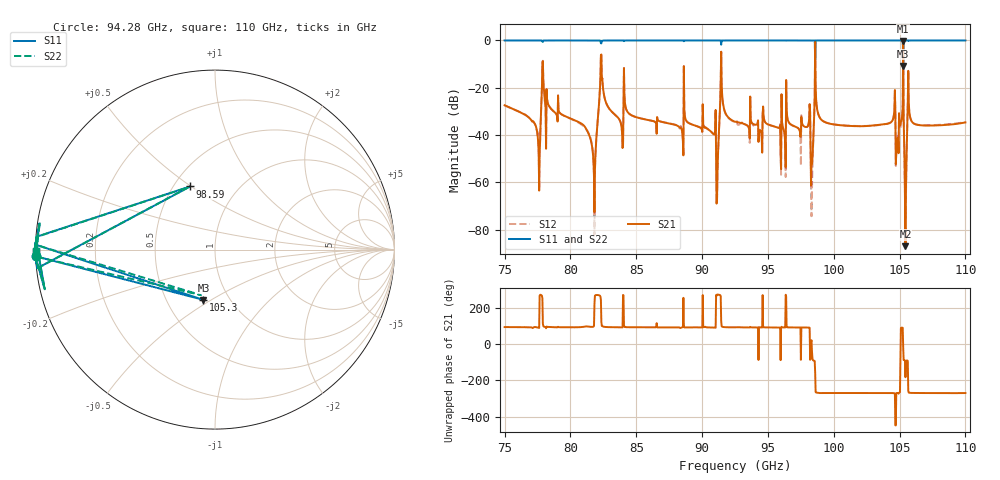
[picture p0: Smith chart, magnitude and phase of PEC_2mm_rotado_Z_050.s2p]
! TOUCHSTONE file generated by CST MICROWAVE STUDIO
! Date and time: Fri Feb 16 17:58:28 2024
! Project name: metal_rotado.cst
! Parameters = {angX=0.5; angY=2}
! Header version: 2018
! Port assignment regex: !\s*Touchstone port\s*([0-9]+)\s*=\s*(CST MWS port|CST DS port)\s*([0-9]+|Zmin|Zmax)\s*\(\"(.*)\"\)(\s*mode\s*([0-9]+))?.*
! Touchstone port assignment:
! Touchstone port 1 = CST MWS port 1 ("")
! Touchstone port 2 = CST MWS port 2 ("")
# GHz S MA R 376.7
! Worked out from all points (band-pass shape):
!   1001 points, 75 GHz to 110 GHz, reference 376.7 ohm
!   highest |S21| = -0.27 dB at 105.3 GHz (marker M1); lowest = -87.0 dB at 105.5 GHz (marker M2)
!   |S21| within 3 dB of the highest: 98.58597 GHz to 98.59476 GHz (8.789 MHz wide, 0.00892 % of centre); 105.2711 GHz to 105.2782 GHz (7.095 MHz wide, 0.00674 % of centre)
!   lowest |S11| = -10.8 dB at 105.3 GHz (marker M3), VSWR 1.81, Z = 285 - j174 ohm
!   |S11| at or under -10 dB: 105.2723 GHz to 105.2777 GHz (5.368 MHz wide, 0.0051 % of centre)
!   |S22| runs from -11.5 to 0.0 dB; largest |S21 - S12| = 0.027
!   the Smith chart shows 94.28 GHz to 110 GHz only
!   S11 on the Smith chart (normalised r, x): 94.28 GHz: 0.00, -0.02; 98.59 GHz: 0.60, +0.50; 105.3 GHz: 0.76, -0.46; 110 GHz: 0.00, -0.00
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75  0.9991 -177.4  0.04253 92.7  0.04215 92.6  0.9991 -177.4
77.52  1 -179.3  0.00896 90.1  0.009075 91.5  0.9999 -179.3
77.94  0.9895 -171.4  0.1448 98.5  0.1477 98.4  0.9896 -171.4
80.845  1 -178.8  0.01736 92.8  0.01657 91.1  1 -178.8
81.825  1 -179.8  0.0002324 -140.9  7.806e-05 121.2  1 -179.8
82.385  0.9889 -171.4  0.1482 98.7  0.148 98.7  0.9891 -171.2
83.82  0.9999 -178.8  0.01803 91.3  0.01819 91.2  0.9998 -178.8
84.205  0.9991 -177.6  0.03756 92.3  0.03737 92.3  0.9993 -177.7
86.69  0.9995 -178.7  0.02003 90.8  0.01997 91.3  0.9998 -178.7
88.79  0.9997 -178.6  0.0202 90.6  0.02027 91.3  0.9994 -178.7
91.065  0.9996 -179.0  0.004292 -91.4  0.004492 -88.9  0.9998 -179.1
91.52  0.9965 -175.6  0.07383 94.8  0.0724 94.4  0.9973 -175.7
92.5  0.9998 -178.8  0.01904 91.2  0.01878 91.1  0.9998 -178.8
94.285  1 -177.8  0.007173 -87.9  0.007173 -87.9  1 -178.0
98.03  0.9999 -179.8  0.01534 90.2  0.01548 90.3  0.9999 -179.8
98.345  0.9999 -179.8  0.002447 -39.4  0.0006258 -81.3  1 -179.7
98.59  0.3779 111.4  0.9258 -157.8  0.9258 -157.8  0.3779 113.0
104.19  0.9996 -179.8  0.01762 90.4  0.01774 89.6  0.9997 -179.7
105.275  0.2874 -102.9  0.9698 -15.8  0.954 -14.4  0.2652 -107.2
105.45  0.9998 -179.6  4.445e-05 177.2  0.0001747 128.4  1 -179.5
105.8  0.9993 -178.8  0.02414 91.3  0.02408 90.8  1 -178.7
110  0.9998 -179.7  0.01847 90.3  0.01866 90.4  0.9999 -179.6
